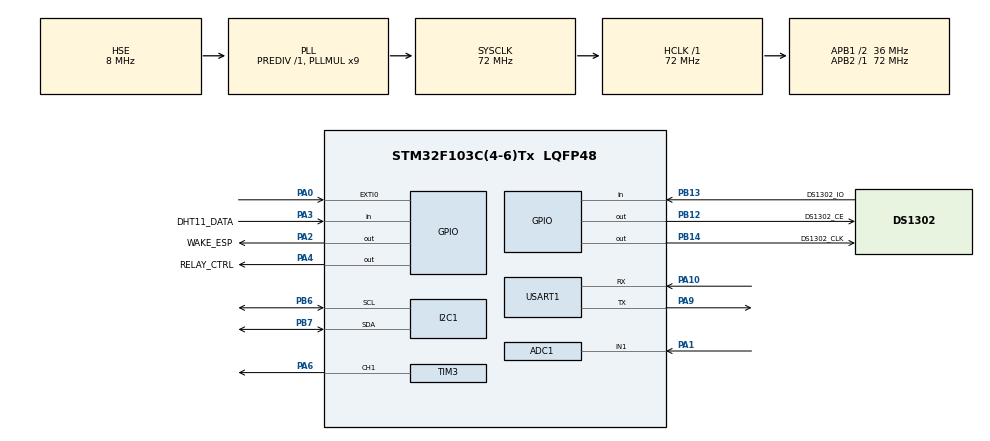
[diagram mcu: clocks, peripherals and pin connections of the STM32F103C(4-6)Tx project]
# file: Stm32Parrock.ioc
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ADC1.Channel-0\#ChannelRegularConversion=ADC_CHANNEL_1
ADC1.NbrOfConversionFlag=1
ADC1.Rank-0\#ChannelRegularConversion=1
ADC1.SamplingTime-0\#ChannelRegularConversion=ADC_SAMPLETIME_1CYCLE_5
ADC1.master=1
Dma.Request0=TIM3_CH1/TRIG
Dma.TIM3_CH1/TRIG.0.Direction=DMA_MEMORY_TO_PERIPH
Dma.TIM3_CH1/TRIG.0.Instance=DMA1_Channel6
Dma.TIM3_CH1/TRIG.0.MemDataAlignment=DMA_MDATAALIGN_HALFWORD
Dma.TIM3_CH1/TRIG.0.MemInc=DMA_MINC_ENABLE
Dma.TIM3_CH1/TRIG.0.Mode=DMA_CIRCULAR
Dma.TIM3_CH1/TRIG.0.PeriphDataAlignment=DMA_PDATAALIGN_HALFWORD
Dma.TIM3_CH1/TRIG.0.PeriphInc=DMA_PINC_DISABLE
Dma.TIM3_CH1/TRIG.0.Priority=DMA_PRIORITY_LOW
FREERTOS.Tasks01=Normal,24,128,StartDefaultTask,Default,NULL,Dynamic,NULL,NULL;CommsTask,40,384,StartTask02,Default,NULL,Dynamic,NULL,NULL
FREERTOS.configQUEUE_REGISTRY_SIZE=0
FREERTOS.configTIMER_QUEUE_LENGTH=2
FREERTOS.configTIMER_TASK_STACK_DEPTH=128
FREERTOS.configTOTAL_HEAP_SIZE=4096
FREERTOS.configUSE_TRACE_FACILITY=1
Mcu.Family=STM32F1
Mcu.Name=STM32F103C(4-6)Tx
Mcu.Package=LQFP48
NVIC.DMA1_Channel6_IRQn=true\:5\:0\:false\:false\:true\:true\:false\:true\:true
NVIC.EXTI0_IRQn=true\:5\:0\:false\:false\:true\:true\:true\:true\:true
NVIC.PriorityGroup=NVIC_PRIORITYGROUP_4
NVIC.RTC_Alarm_IRQn=true\:5\:0\:false\:false\:true\:true\:true\:true\:true
NVIC.TIM1_UP_IRQn=true\:15\:0\:false\:false\:true\:false\:false\:true\:true
NVIC.TimeBase=TIM1_UP_IRQn
NVIC.TimeBaseIP=TIM1
NVIC.USART1_IRQn=true\:5\:0\:false\:false\:true\:true\:true\:true\:true
PA0-WKUP.Signal=GPXTI0
PA1.Signal=ADCx_IN1
PA10.Mode=Asynchronous
PA10.Signal=USART1_RX
PA13.Mode=Serial_Wire
PA13.Signal=SYS_JTMS-SWDIO
PA14.Mode=Serial_Wire
PA14.Signal=SYS_JTCK-SWCLK
PA2.GPIO_Label=WAKE_ESP
PA2.Signal=GPIO_Output
PA3.GPIO_Label=DHT11_DATA
PA3.Signal=GPIO_Input
PA4.GPIO_Label=RELAY_CTRL
PA4.Signal=GPIO_Output
PA6.Signal=S_TIM3_CH1
PA9.Mode=Asynchronous
PA9.Signal=USART1_TX
PB12.GPIO_Label=DS1302_CE
PB12.Signal=GPIO_Output
PB13.GPIO_Label=DS1302_IO
PB13.Signal=GPIO_Input
PB14.GPIO_Label=DS1302_CLK
PB14.Signal=GPIO_Output
PB6.Mode=I2C
PB6.Signal=I2C1_SCL
PB7.Mode=I2C
PB7.Signal=I2C1_SDA
PD0-OSC_IN.Mode=HSE-External-Oscillator
PD0-OSC_IN.Signal=RCC_OSC_IN
PD1-OSC_OUT.Mode=HSE-External-Oscillator
PD1-OSC_OUT.Signal=RCC_OSC_OUT
ProjectManager.HeapSize=0x200
ProjectManager.StackSize=0x400
ProjectManager.TargetToolchain=STM32CubeIDE
RCC.ADCPresc=RCC_ADCPCLK2_DIV6
RCC.AHBFreq_Value=72000000
RCC.APB1CLKDivider=RCC_HCLK_DIV2
RCC.APB1Freq_Value=36000000
RCC.APB1TimFreq_Value=72000000
RCC.APB2Freq_Value=72000000
RCC.APB2TimFreq_Value=72000000
RCC.HCLKFreq_Value=72000000
RCC.PLLMUL=RCC_PLL_MUL9
RCC.PLLSourceVirtual=RCC_PLLSOURCE_HSE
RCC.SYSCLKFreq_VALUE=72000000
RCC.SYSCLKSource=RCC_SYSCLKSOURCE_PLLCLK
RCC.USBFreq_Value=72000000
SH.ADCx_IN1.0=ADC1_IN1,IN1
SH.S_TIM3_CH1.0=TIM3_CH1,PWM Generation1 CH1
TIM3.Channel-PWM\ Generation1\ CH1=TIM_CHANNEL_1
TIM3.Period=89
USART1.VirtualMode=VM_ASYNC
VP_FREERTOS_VS_CMSIS_V2.Mode=CMSIS_V2
VP_IWDG_VS_IWDG.Mode=IWDG_Activate
VP_RTC_VS_RTC_Activate.Mode=RTC_Enabled
VP_RTC_VS_RTC_Calendar.Mode=RTC_Calendar
VP_SYS_VS_tim1.Mode=TIM1
board=custom

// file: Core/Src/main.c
/* USER CODE BEGIN Header */
/**
  ******************************************************************************
  * @file           : main.c
  * @brief          : Main program body
  ******************************************************************************
  */
/* USER CODE END Header */
#include "main.h"
#include "cmsis_os.h"

/* USER CODE BEGIN Includes */
#include <string.h>
#include "app_events.h"
#include "timing_config.h"
#include "hw_config.h"
#include "battery_calc.h"
#include "protocol_builder.h"
#include "ws2812_driver.h"
#include "ds1302_driver.h"
#include "bsp_ds1302.h"
#include "oled_driver.h"
#include "gfx_engine.h"
#include "oled_ui.h"
#include "bsp_i2c.h"
#include "rtc_if.h"
#include "bsp_time.h"
#include "sensor_manager.h"
#include "alarm_manager.h"
#include "task_comms.h"
#include "task_watchdog.h"
/* USER CODE END Includes */

/* USER CODE BEGIN PD */
/* ALL MACROS IN Config/hw_config.h AND Config/timing_config.h */
/* USER CODE END PD */

ADC_HandleTypeDef hadc1;

I2C_HandleTypeDef hi2c1;

IWDG_HandleTypeDef hiwdg;

RTC_HandleTypeDef hrtc;

TIM_HandleTypeDef htim3;
DMA_HandleTypeDef hdma_tim3_ch1_trig;

UART_HandleTypeDef huart1;

/* Definitions for Normal */
osThreadId_t NormalHandle;
const osThreadAttr_t Normal_attributes = {
  .name = "Normal",
  .stack_size = 128 * 4,
  .priority = (osPriority_t) osPriorityNormal,
};
/* Definitions for CommsTask */
osThreadId_t CommsTaskHandle;
const osThreadAttr_t CommsTask_attributes = {
  .name = "CommsTask",
  .stack_size = 384 * 4,
  .priority = (osPriority_t) osPriorityHigh,
};
/* USER CODE BEGIN PV */
uint8_t esp_rx_byte = 0; // Buffer for 1 byte from ESP32

/* --- WS2812 Driver Instance & RAM --- */
static uint8_t app_led_ram[64][3]; // 192 bytes allocated safely in main RAM
ws2812_handle_t main_led_strip;    // The driver instance

/* Context for Dependency Injection */
static comms_task_ctx_t comms_ctx;

/* creation of Watchdog Task */
static const osThreadAttr_t WatchdogTask_attributes = {
  .name = "WatchdogTask",
  .stack_size = 128 * 4,
  .priority = (osPriority_t) osPriorityRealtime,
};

gfx_display_if_t display_interface = {
          .set_cursor = OLED_SetCursor,
          .write_data = OLED_WriteData
      };

/* USER CODE END PV */

void SystemClock_Config(void);
static void MX_GPIO_Init(void);
static void MX_DMA_Init(void);
static void MX_ADC1_Init(void);
static void MX_I2C1_Init(void);
static void MX_USART1_UART_Init(void);
static void MX_RTC_Init(void);
static void MX_TIM3_Init(void);
static void MX_IWDG_Init(void);
void StartDefaultTask(void *argument);
void StartTask02(void *argument);

/* USER CODE BEGIN 0 */

/* --- Hardware Abstraction (BSP) for WS2812 --- */
void BSP_StartDMA(void* timer_handle, uint32_t channel, uint32_t* data, uint16_t length) {
    HAL_TIM_PWM_Start_DMA((TIM_HandleTypeDef*)timer_handle, channel, data, length);
}

void BSP_StopDMA(void* timer_handle, uint32_t channel) {
    HAL_TIM_PWM_Stop_DMA((TIM_HandleTypeDef*)timer_handle, channel);
}

// --- 3. BATTERY WRAPPER ---
uint8_t Get_Battery_Percent(void) {
    HAL_ADC_Start(&hadc1);
    if (HAL_ADC_PollForConversion(&hadc1, 10) != HAL_OK) return 0;
    uint32_t raw_adc = HAL_ADC_GetValue(&hadc1);
    HAL_ADC_Stop(&hadc1);
    return BatteryCalc_GetPercent(raw_adc);
}

// --- 4. I2C RECOVERY ---
void I2C_Bus_Recovery(void) {
    GPIO_InitTypeDef GPIO_InitStruct = {0};
    GPIO_InitStruct.Pin = GPIO_PIN_6 | GPIO_PIN_7;
    GPIO_InitStruct.Mode = GPIO_MODE_OUTPUT_OD;
    GPIO_InitStruct.Pull = GPIO_PULLUP;
    GPIO_InitStruct.Speed = GPIO_SPEED_FREQ_HIGH;
    HAL_GPIO_Init(GPIOB, &GPIO_InitStruct);

    for (int i = 0; i < 9; i++) {
        HAL_GPIO_WritePin(GPIOB, GPIO_PIN_6, GPIO_PIN_RESET); BSP_Delay_us(5);
        HAL_GPIO_WritePin(GPIOB, GPIO_PIN_6, GPIO_PIN_SET);   BSP_Delay_us(5);
    }

    HAL_GPIO_WritePin(GPIOB, GPIO_PIN_7, GPIO_PIN_RESET); BSP_Delay_us(5);
    HAL_GPIO_WritePin(GPIOB, GPIO_PIN_6, GPIO_PIN_RESET); BSP_Delay_us(5);
    HAL_GPIO_WritePin(GPIOB, GPIO_PIN_6, GPIO_PIN_SET);   BSP_Delay_us(5);
    HAL_GPIO_WritePin(GPIOB, GPIO_PIN_7, GPIO_PIN_SET);   BSP_Delay_us(5);

    HAL_I2C_DeInit(&hi2c1);
    MX_I2C1_Init();
}

/* USER CODE END 0 */

int main(void)
{

  /* MCU Configuration--------------------------------------------------------*/

  /* Reset of all peripherals, Initializes the Flash interface and the Systick. */
  HAL_Init();

  /* Configure the system clock */
  SystemClock_Config();

  /* Initialize all configured peripherals */
  MX_GPIO_Init();
  MX_DMA_Init();
  MX_ADC1_Init();
  MX_I2C1_Init();
  MX_USART1_UART_Init();
  MX_RTC_Init();
  MX_TIM3_Init();
  MX_IWDG_Init();
  /* USER CODE BEGIN 2 */

  	  __HAL_DBGMCU_FREEZE_IWDG();

      extern void BSP_Time_Init(void);
      BSP_Time_Init();
      I2C_Bus_Recovery();
      HAL_ADCEx_Calibration_Start(&hadc1);

      /* --- ARCHITECTURE INITIALIZATION (Dependency Injection) --- */
      BSP_I2C_Init(&hi2c1);

      RTC_Init();

//      /* --- Temporary DS1302 Start Code --- */
//            ds1302_handle_t temp_rtc;
//            DS1302_Init(&temp_rtc, BSP_DS1302_GetInterface());
//
//            /* Disable write protection */
//            DS1302_SetWriteProtect(&temp_rtc, false);
//
//            /*
//             * Write time: 12:00:00.
//             * Writing 0x00 to the SEC register (0x80) disables the Clock Halt bit and starts the oscillator.
//             */
//            DS1302_WriteReg(&temp_rtc, 0x80, 0x00); /* Seconds */
//            DS1302_WriteReg(&temp_rtc, 0x82, 0x00); /* Minutes */
//            DS1302_WriteReg(&temp_rtc, 0x84, 0x12); /* Hours */
//            /* -------------------------------------- */

      SensorManager_Init();
      AlarmManager_Init();

      // Init WS2812 Device Driver
      main_led_strip.num_leds = 64;
      main_led_strip.brightness = 10;
      main_led_strip.frame_buffer = app_led_ram;
      main_led_strip.timer_handle = &htim3;
      main_led_strip.timer_channel = TIM_CHANNEL_1;
      main_led_strip.start_dma = BSP_StartDMA;
      main_led_strip.stop_dma = BSP_StopDMA;
      WS2812_Init(&main_led_strip);

      // Init OLED and inject hardware into GFX Engine
      OLED_Init();
      OLED_Clear();

      GFX_Init(&display_interface);
      OLED_Sleep();

  /* USER CODE END 2 */

  /* Init scheduler */
  osKernelInitialize();

  /* Create the thread(s) */
  /* creation of Normal */
  NormalHandle = osThreadNew(StartDefaultTask, NULL, &Normal_attributes);

  /* creation of CommsTask */
  //  CubeMX declaration (UNCOMMENT IF MAKING CHANGES IN CUBEMX)
  //  CommsTaskHandle = osThreadNew(TaskComms_Entry, &comms_ctx, &CommsTask_attributes);

  /* USER CODE BEGIN RTOS_THREADS */
  comms_ctx.huart = &huart1;
  comms_ctx.led_strip = &main_led_strip;

  CommsTaskHandle = osThreadNew(TaskComms_Entry, &comms_ctx, &CommsTask_attributes);

  osThreadId_t WatchdogTaskHandle = osThreadNew(TaskWatchdog_Entry, NULL, &WatchdogTask_attributes);
  (void)WatchdogTaskHandle;

  /* Bootstrap safety refresh */
  HAL_IWDG_Refresh(&hiwdg);

  /* USER CODE END RTOS_THREADS */

  /* Start scheduler */
  osKernelStart();

  /* We should never get here as control is now taken by the scheduler */

  /* Infinite loop */
  while (1)
  {

  }
}

void SystemClock_Config(void)
{
  RCC_OscInitTypeDef RCC_OscInitStruct = {0};
  RCC_ClkInitTypeDef RCC_ClkInitStruct = {0};
  RCC_PeriphCLKInitTypeDef PeriphClkInit = {0};

  /** Initializes the RCC Oscillators according to the specified parameters
  * in the RCC_OscInitTypeDef structure.
  */
  RCC_OscInitStruct.OscillatorType = RCC_OSCILLATORTYPE_LSI|RCC_OSCILLATORTYPE_HSE;
  RCC_OscInitStruct.HSEState = RCC_HSE_ON;
  RCC_OscInitStruct.HSEPredivValue = RCC_HSE_PREDIV_DIV1;
  RCC_OscInitStruct.HSIState = RCC_HSI_ON;
  RCC_OscInitStruct.LSIState = RCC_LSI_ON;
  RCC_OscInitStruct.PLL.PLLState = RCC_PLL_ON;
  RCC_OscInitStruct.PLL.PLLSource = RCC_PLLSOURCE_HSE;
  RCC_OscInitStruct.PLL.PLLMUL = RCC_PLL_MUL9;
  if (HAL_RCC_OscConfig(&RCC_OscInitStruct) != HAL_OK)
  {
    Error_Handler();
  }

  /** Initializes the CPU, AHB and APB buses clocks
  */
  RCC_ClkInitStruct.ClockType = RCC_CLOCKTYPE_HCLK|RCC_CLOCKTYPE_SYSCLK
                              |RCC_CLOCKTYPE_PCLK1|RCC_CLOCKTYPE_PCLK2;
  RCC_ClkInitStruct.SYSCLKSource = RCC_SYSCLKSOURCE_PLLCLK;
  RCC_ClkInitStruct.AHBCLKDivider = RCC_SYSCLK_DIV1;
  RCC_ClkInitStruct.APB1CLKDivider = RCC_HCLK_DIV2;
  RCC_ClkInitStruct.APB2CLKDivider = RCC_HCLK_DIV1;

  if (HAL_RCC_ClockConfig(&RCC_ClkInitStruct, FLASH_LATENCY_2) != HAL_OK)
  {
    Error_Handler();
  }
  PeriphClkInit.PeriphClockSelection = RCC_PERIPHCLK_RTC|RCC_PERIPHCLK_ADC;
  PeriphClkInit.RTCClockSelection = RCC_RTCCLKSOURCE_LSI;
  PeriphClkInit.AdcClockSelection = RCC_ADCPCLK2_DIV6;
  if (HAL_RCCEx_PeriphCLKConfig(&PeriphClkInit) != HAL_OK)
  {
    Error_Handler();
  }
}

static void MX_ADC1_Init(void)
{

  ADC_ChannelConfTypeDef sConfig = {0};

  /** Common config
  */
  hadc1.Instance = ADC1;
  hadc1.Init.ScanConvMode = ADC_SCAN_DISABLE;
  hadc1.Init.ContinuousConvMode = DISABLE;
  hadc1.Init.DiscontinuousConvMode = DISABLE;
  hadc1.Init.ExternalTrigConv = ADC_SOFTWARE_START;
  hadc1.Init.DataAlign = ADC_DATAALIGN_RIGHT;
  hadc1.Init.NbrOfConversion = 1;
  if (HAL_ADC_Init(&hadc1) != HAL_OK)
  {
    Error_Handler();
  }

  /** Configure Regular Channel
  */
  sConfig.Channel = ADC_CHANNEL_1;
  sConfig.Rank = ADC_REGULAR_RANK_1;
  sConfig.SamplingTime = ADC_SAMPLETIME_239CYCLES_5;
  if (HAL_ADC_ConfigChannel(&hadc1, &sConfig) != HAL_OK)
  {
    Error_Handler();
  }

}

static void MX_I2C1_Init(void)
{

  hi2c1.Instance = I2C1;
  hi2c1.Init.ClockSpeed = 100000;
  hi2c1.Init.DutyCycle = I2C_DUTYCYCLE_2;
  hi2c1.Init.OwnAddress1 = 0;
  hi2c1.Init.AddressingMode = I2C_ADDRESSINGMODE_7BIT;
  hi2c1.Init.DualAddressMode = I2C_DUALADDRESS_DISABLE;
  hi2c1.Init.OwnAddress2 = 0;
  hi2c1.Init.GeneralCallMode = I2C_GENERALCALL_DISABLE;
  hi2c1.Init.NoStretchMode = I2C_NOSTRETCH_DISABLE;
  if (HAL_I2C_Init(&hi2c1) != HAL_OK)
  {
    Error_Handler();
  }

}

static void MX_IWDG_Init(void)
{

  hiwdg.Instance = IWDG;
  hiwdg.Init.Prescaler = IWDG_PRESCALER_32;
  hiwdg.Init.Reload = 4095;
  if (HAL_IWDG_Init(&hiwdg) != HAL_OK)
  {
    Error_Handler();
  }

}

static void MX_RTC_Init(void)
{

  RTC_TimeTypeDef sTime = {0};
  RTC_DateTypeDef DateToUpdate = {0};

  /** Initialize RTC Only
  */
  hrtc.Instance = RTC;
  hrtc.Init.AsynchPrediv = RTC_AUTO_1_SECOND;
  hrtc.Init.OutPut = RTC_OUTPUTSOURCE_ALARM;
  if (HAL_RTC_Init(&hrtc) != HAL_OK)
  {
    Error_Handler();
  }

  /** Initialize RTC and set the Time and Date
  */
  sTime.Hours = 0x0;
  sTime.Minutes = 0x0;
  sTime.Seconds = 0x0;

  if (HAL_RTC_SetTime(&hrtc, &sTime, RTC_FORMAT_BCD) != HAL_OK)
  {
    Error_Handler();
  }
  DateToUpdate.WeekDay = RTC_WEEKDAY_MONDAY;
  DateToUpdate.Month = RTC_MONTH_JANUARY;
  DateToUpdate.Date = 0x1;
  DateToUpdate.Year = 0x0;

  if (HAL_RTC_SetDate(&hrtc, &DateToUpdate, RTC_FORMAT_BCD) != HAL_OK)
  {
    Error_Handler();
  }
  /* USER CODE BEGIN RTC_Init 2 */

  // Zresetuj linię EXTI dla RTC Alarm
  __HAL_RTC_ALARM_EXTI_CLEAR_FLAG();
  __HAL_RTC_ALARM_EXTI_ENABLE_IT();
  __HAL_RTC_ALARM_EXTI_ENABLE_RISING_EDGE();

  /* Lock-free 1Hz hardware pulse for the DUMB Watchdog Feeder */
  __HAL_RTC_SECOND_ENABLE_IT(&hrtc, RTC_IT_SEC);

  /* Uruchom główny kanał przerwań globalnie dla RTC (Bez tego RTC_IT_SEC nie wychodzi z chipa!) */
  HAL_NVIC_SetPriority(RTC_IRQn, 5, 0);
  HAL_NVIC_EnableIRQ(RTC_IRQn);

  /* Ważne dla budzenia z trybu STOP */
  HAL_NVIC_SetPriority(RTC_Alarm_IRQn, 5, 0);
  HAL_NVIC_EnableIRQ(RTC_Alarm_IRQn);

  /* USER CODE END RTC_Init 2 */

}

static void MX_TIM3_Init(void)
{

  TIM_MasterConfigTypeDef sMasterConfig = {0};
  TIM_OC_InitTypeDef sConfigOC = {0};

  htim3.Instance = TIM3;
  htim3.Init.Prescaler = 0;
  htim3.Init.CounterMode = TIM_COUNTERMODE_UP;
  htim3.Init.Period = 89;
  htim3.Init.ClockDivision = TIM_CLOCKDIVISION_DIV1;
  htim3.Init.AutoReloadPreload = TIM_AUTORELOAD_PRELOAD_DISABLE;
  if (HAL_TIM_PWM_Init(&htim3) != HAL_OK)
  {
    Error_Handler();
  }
  sMasterConfig.MasterOutputTrigger = TIM_TRGO_RESET;
  sMasterConfig.MasterSlaveMode = TIM_MASTERSLAVEMODE_DISABLE;
  if (HAL_TIMEx_MasterConfigSynchronization(&htim3, &sMasterConfig) != HAL_OK)
  {
    Error_Handler();
  }
  sConfigOC.OCMode = TIM_OCMODE_PWM1;
  sConfigOC.Pulse = 0;
  sConfigOC.OCPolarity = TIM_OCPOLARITY_HIGH;
  sConfigOC.OCFastMode = TIM_OCFAST_DISABLE;
  if (HAL_TIM_PWM_ConfigChannel(&htim3, &sConfigOC, TIM_CHANNEL_1) != HAL_OK)
  {
    Error_Handler();
  }
  HAL_TIM_MspPostInit(&htim3);

}

static void MX_USART1_UART_Init(void)
{

  huart1.Instance = USART1;
  huart1.Init.BaudRate = 115200;
  huart1.Init.WordLength = UART_WORDLENGTH_8B;
  huart1.Init.StopBits = UART_STOPBITS_1;
  huart1.Init.Parity = UART_PARITY_NONE;
  huart1.Init.Mode = UART_MODE_TX_RX;
  huart1.Init.HwFlowCtl = UART_HWCONTROL_NONE;
  huart1.Init.OverSampling = UART_OVERSAMPLING_16;
  if (HAL_UART_Init(&huart1) != HAL_OK)
  {
    Error_Handler();
  }

}

static void MX_DMA_Init(void)
{

  /* DMA controller clock enable */
  __HAL_RCC_DMA1_CLK_ENABLE();

  /* DMA interrupt init */
  /* DMA1_Channel6_IRQn interrupt configuration */
  HAL_NVIC_SetPriority(DMA1_Channel6_IRQn, 5, 0);
  HAL_NVIC_EnableIRQ(DMA1_Channel6_IRQn);

}

static void MX_GPIO_Init(void)
{
  GPIO_InitTypeDef GPIO_InitStruct = {0};

  /* GPIO Ports Clock Enable */
  __HAL_RCC_GPIOD_CLK_ENABLE();
  __HAL_RCC_GPIOA_CLK_ENABLE();
  __HAL_RCC_GPIOB_CLK_ENABLE();

  /*Configure GPIO pin Output Level */
  HAL_GPIO_WritePin(GPIOA, WAKE_ESP_Pin|RELAY_CTRL_Pin, GPIO_PIN_RESET);

  /*Configure GPIO pin Output Level */
  HAL_GPIO_WritePin(GPIOB, DS1302_CE_Pin|DS1302_CLK_Pin, GPIO_PIN_RESET);

  /*Configure GPIO pin : PA0 */
  GPIO_InitStruct.Pin = GPIO_PIN_0;
  GPIO_InitStruct.Mode = GPIO_MODE_IT_RISING;
  GPIO_InitStruct.Pull = GPIO_PULLDOWN;
  HAL_GPIO_Init(GPIOA, &GPIO_InitStruct);

  /*Configure GPIO pins : WAKE_ESP_Pin RELAY_CTRL_Pin */
  GPIO_InitStruct.Pin = WAKE_ESP_Pin|RELAY_CTRL_Pin;
  GPIO_InitStruct.Mode = GPIO_MODE_OUTPUT_PP;
  GPIO_InitStruct.Pull = GPIO_NOPULL;
  GPIO_InitStruct.Speed = GPIO_SPEED_FREQ_LOW;
  HAL_GPIO_Init(GPIOA, &GPIO_InitStruct);

  /*Configure GPIO pin : DHT11_DATA_Pin */
  GPIO_InitStruct.Pin = DHT11_DATA_Pin;
  GPIO_InitStruct.Mode = GPIO_MODE_INPUT;
  GPIO_InitStruct.Pull = GPIO_PULLUP;
  HAL_GPIO_Init(DHT11_DATA_GPIO_Port, &GPIO_InitStruct);

  /*Configure GPIO pins : DS1302_CE_Pin DS1302_CLK_Pin */
  GPIO_InitStruct.Pin = DS1302_CE_Pin|DS1302_CLK_Pin;
  GPIO_InitStruct.Mode = GPIO_MODE_OUTPUT_PP;
  GPIO_InitStruct.Pull = GPIO_NOPULL;
  GPIO_InitStruct.Speed = GPIO_SPEED_FREQ_LOW;
  HAL_GPIO_Init(GPIOB, &GPIO_InitStruct);

  /*Configure GPIO pin : DS1302_IO_Pin */
  GPIO_InitStruct.Pin = DS1302_IO_Pin;
  GPIO_InitStruct.Mode = GPIO_MODE_INPUT;
  GPIO_InitStruct.Pull = GPIO_NOPULL;
  HAL_GPIO_Init(DS1302_IO_GPIO_Port, &GPIO_InitStruct);

  /* EXTI interrupt init*/
  HAL_NVIC_SetPriority(EXTI0_IRQn, 5, 0);
  HAL_NVIC_EnableIRQ(EXTI0_IRQn);

  /* EXTI interrupt init for DHT11*/
  HAL_NVIC_SetPriority(EXTI3_IRQn, 5, 0);
  HAL_NVIC_EnableIRQ(EXTI3_IRQn);

}

/* USER CODE BEGIN 4 */

extern volatile uint32_t rtos_liveness_timestamp;
extern IWDG_HandleTypeDef hiwdg;

/**
 * @brief  Hardware-safe, atomic read of the STM32F1 32-bit RTC counter.
 * @details Solves the APB1/RTC clock domain crossing race condition.
 */
static inline uint32_t Safe_RTC_Read(void)
{
    uint16_t high1, low, high2;
    do {
        high1 = RTC->CNTH;
        low   = RTC->CNTL;
        high2 = RTC->CNTH;
    } while (high1 != high2);

    return ((uint32_t)high2 << 16) | low;
}

/**
 * @brief  RTC Second Event Callback (The DUMB Hardware Feeder).
 */
void HAL_RTCEx_RTCEventCallback(RTC_HandleTypeDef *hrtc)
{
    uint32_t now = Safe_RTC_Read();

    /*
     * HARDWARE ENFORCEMENT:
     * If the RTOS timestamp is fresh (<= 3 seconds old), feed the dog.
     * If the RTOS hung, 'now' will outgrow the timestamp, and IWDG will bite.
     */
    if ((now - rtos_liveness_timestamp) <= 3) {
        HAL_IWDG_Refresh(&hiwdg);
    }
}

// EXTI Line Interrupt Callback
void HAL_GPIO_EXTI_Callback(uint16_t GPIO_Pin)
{
	if(GPIO_Pin == GPIO_PIN_0) {
	    /* DEBOUNCE: Mask the interrupt in hardware immediately so noise is ignored */
	    EXTI->IMR &= ~GPIO_PIN_0;
	    osThreadFlagsSet(CommsTaskHandle, EVENT_PIR_TRIGGERED);
	}

}

// RTC Alarm Callback
void HAL_RTC_AlarmAEventCallback(RTC_HandleTypeDef *hrtc)
{
    osThreadFlagsSet(CommsTaskHandle, EVENT_RTC_ALARM);
}

// UART Receive Complete Callback
void HAL_UART_RxCpltCallback(UART_HandleTypeDef *huart)
{
    if(huart->Instance == USART1)
    {
        if(esp_rx_byte == 'R')
        {
            osThreadFlagsSet(CommsTaskHandle, EVENT_ESP_READY);
        }
    }
}

// --- WS2812 DMA INTERRUPTS ---
void HAL_TIM_PWM_PulseFinishedHalfCpltCallback(TIM_HandleTypeDef *htim) {
    if (htim->Instance == TIM3) {
        WS2812_DMA_HalfCplt_ISR(&main_led_strip);
    }
}

void HAL_TIM_PWM_PulseFinishedCallback(TIM_HandleTypeDef *htim) {
    if (htim->Instance == TIM3) {
        WS2812_DMA_Cplt_ISR(&main_led_strip);
    }
}

// DS1302 IRQHandler
void RTC_IRQHandler(void)
{
    HAL_RTCEx_RTCIRQHandler(&hrtc);
}

/* USER CODE END 4 */

void StartDefaultTask(void *argument)
{
  for(;;)
  {
    osDelay(1);
  }
}

//void StartTask02(void *argument)
//{
//  /* USER CODE BEGIN StartTask02 */
//  UNCOMMENT STARTTASK02 WHEN WORKING WITH CUBEMX
//  /* Pass control to the actual infinite task logic with injected context */
//  TaskComms_Entry(&comms_ctx);
//
//  /* TaskComms_Entry contains an infinite for(;;) loop, so the CPU will never reach this point. */
//
//  /* USER CODE END StartTask02 */
//}

void HAL_TIM_PeriodElapsedCallback(TIM_HandleTypeDef *htim)
{
  if (htim->Instance == TIM1)
  {
    HAL_IncTick();
  }
}

void Error_Handler(void)
{
  __disable_irq();
  while (1)
  {
  }
}
